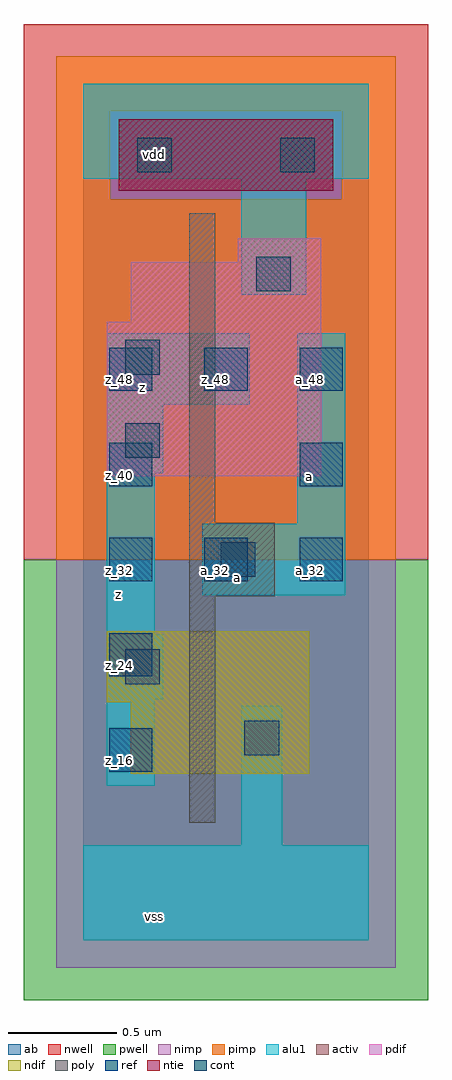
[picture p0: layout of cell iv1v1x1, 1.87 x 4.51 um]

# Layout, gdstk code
import gdstk
lib = gdstk.Library(unit=1e-6, precision=2.5e-09)
def R(c, l, rs):  # rectangles x0, y0, x1, y1
    for r in rs: c.add(gdstk.rectangle(r[:2], r[2:], *l))
def A(c, l, x, y, w, h, nx, ny, dx, dy):  # array of equal rectangles
    R(c, l, [(x+i*dx, y+j*dy, x+i*dx+w, y+j*dy+h) for i in range(nx) for j in range(ny)])
ndif = (3, 0)
pdif = (4, 0)
ntie = (5, 0)
ref = (24, 0)
cont = (25, 0)
pwell = (41, 0)
nwell = (42, 0)
activ = (43, 0)
pimp = (44, 0)
nimp = (45, 0)
poly = (46, 0)
alu1 = (49, 0)
ab = (63, 0)

iv1v1x1 = lib.new_cell('iv1v1x1')
R(iv1v1x1, ndif, [(0.22,0.77,1.045,1.1), (0.11,1.1,1.045,1.43)])
R(iv1v1x1, pdif, [(0.11,2.145,1.1,2.86), (0.22,2.86,1.1,3.135), (0.715,3.135,1.1,3.245)])
R(iv1v1x1, ntie, [(0.165,3.465,1.155,3.795)])
A(iv1v1x1, ref, 0.12, 1.66, 0.2, 0.2, 3, 2, 0.44, 0.88)
R(iv1v1x1, ref, [(0.12,0.78,0.32,0.98), (0.12,1.22,0.32,1.42), (0.12,2.1,0.32,2.3), (1,2.1,1.2,2.3)])
R(iv1v1x1, cont, [(0.745,0.855,0.905,1.015), (0.195,1.185,0.355,1.345), (0.635,1.68,0.795,1.84), (0.195,2.23,0.355,2.39), (0.195,2.615,0.355,2.775), (0.8,3,0.96,3.16), (0.25,3.55,0.41,3.71), (0.91,3.55,1.07,3.71)])
R(iv1v1x1, pwell, [(-0.275,-0.275,1.595,1.76)])
R(iv1v1x1, nwell, [(-0.275,1.76,1.595,4.235)])
R(iv1v1x1, activ, [(0.22,0.77,1.045,1.1), (0.11,1.1,1.045,1.43), (0.11,2.145,1.1,2.86), (0.22,2.86,1.1,3.135), (0.715,3.135,1.1,3.245), (0.165,3.465,1.155,3.795)])
R(iv1v1x1, pimp, [(-0.125,1.76,1.445,3.425), (-0.125,3.425,0.125,3.835), (1.195,3.425,1.445,3.835), (-0.125,3.835,1.445,4.085)])
R(iv1v1x1, nimp, [(-0.125,-0.125,1.445,1.76), (0.125,3.425,1.195,3.835)])
R(iv1v1x1, poly, [(0.49,0.545,0.61,1.59), (0.49,1.59,0.885,1.93), (0.49,1.93,0.61,3.36)])
R(iv1v1x1, alu1, [(0,0,1.32,0.44), (0.73,0.44,0.92,1.085), (0.11,0.715,0.33,1.115), (0.11,1.115,0.37,1.415), (0.11,1.415,0.33,2.16), (0.55,1.595,1.21,1.925), (0.99,1.925,1.21,2.805), (0.11,2.16,0.37,2.475), (0.11,2.475,0.77,2.805), (0.73,2.985,1.03,3.52), (0,3.52,1.32,3.96)])
R(iv1v1x1, ab, [(0,0,1.32,3.96)])
iv1v1x1.add(gdstk.Label('vss', (0.33,0.11), layer=49, texttype=0))
iv1v1x1.add(gdstk.Label('a', (0.715,1.6775), layer=49, texttype=0))
iv1v1x1.add(gdstk.Label('a', (1.045,2.145), layer=49, texttype=0))
iv1v1x1.add(gdstk.Label('z', (0.165,1.6), layer=49, texttype=0))
iv1v1x1.add(gdstk.Label('z', (0.275,2.5575), layer=49, texttype=0))
iv1v1x1.add(gdstk.Label('vdd', (0.33,3.63), layer=49, texttype=0))
iv1v1x1.add(gdstk.Label('a_32', (0.61,1.71), layer=24, texttype=0))
iv1v1x1.add(gdstk.Label('z_48', (0.61,2.59), layer=24, texttype=0))
iv1v1x1.add(gdstk.Label('a_32', (1.05,1.71), layer=24, texttype=0))
iv1v1x1.add(gdstk.Label('a_40', (1.05,2.15), layer=24, texttype=0))
iv1v1x1.add(gdstk.Label('a_48', (1.05,2.59), layer=24, texttype=0))
iv1v1x1.add(gdstk.Label('z_16', (0.17,0.83), layer=24, texttype=0))
iv1v1x1.add(gdstk.Label('z_24', (0.17,1.27), layer=24, texttype=0))
iv1v1x1.add(gdstk.Label('z_32', (0.17,1.71), layer=24, texttype=0))
iv1v1x1.add(gdstk.Label('z_40', (0.17,2.15), layer=24, texttype=0))
iv1v1x1.add(gdstk.Label('z_48', (0.17,2.59), layer=24, texttype=0))

lib.write_gds('iv1v1x1.gds')
